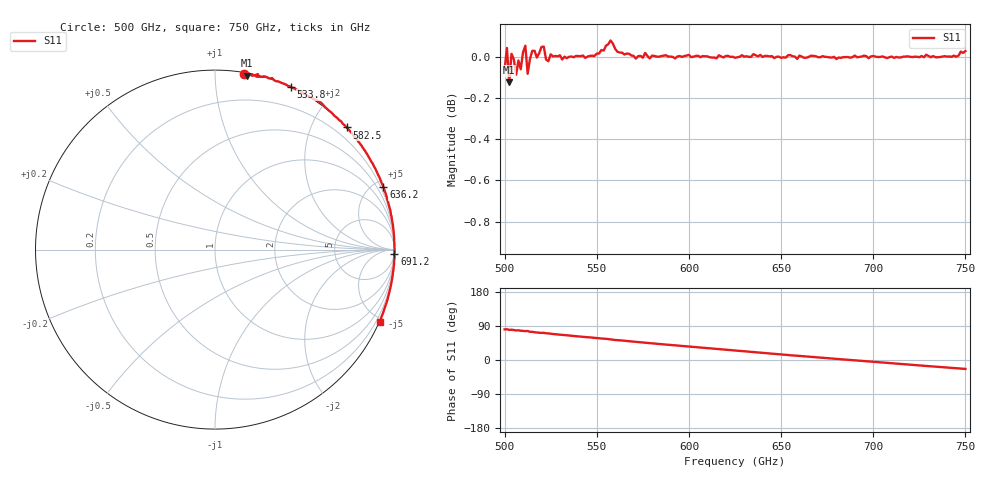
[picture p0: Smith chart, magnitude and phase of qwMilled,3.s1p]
!Created with mwavepy.
# GHz S RI R 50.0
!freq	ReS11	ImS11
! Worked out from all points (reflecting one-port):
!   201 points, 500 GHz to 750 GHz, reference 50 ohm
!   lowest |S11| = -0.1 dB at 502.5 GHz (marker M1), VSWR 142.00, Z = 0.861 + j60.1 ohm
!   phase of S11 starts at 81 deg and turns -104 deg over the sweep
!   S11 on the Smith chart (normalised r, x): 500 GHz: 0.01, +1.18; 533.8 GHz: 0.00, +1.57; 582.5 GHz: -0.00, +2.55; 636.2 GHz: -0.02, +5.57; 691.2 GHz: 0, -83; 750 GHz: -0.04, -4.80
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500  0.1628 0.9797
! Port Impedance 50.00000000000000 0.00000000000000
501.25  0.1538 0.9933
502.5  0.18 0.9694
503.75  0.1762 0.9862
506.25  0.2064 0.9684
507.5  0.2023 0.9774
508.75  0.2182 0.9689
511.25  0.2406 0.9772
512.5  0.2302 0.9635
513.75  0.2681 0.9623
515  0.2714 0.9661
516.25  0.2918 0.9602
520  0.3194 0.9536
521.25  0.3164 0.9549
522.5  0.3334 0.9413
531.25  0.4045 0.913
533.75  0.4221 0.9059
555  0.5637 0.8337
562.5  0.6212 0.7869
582.5  0.7328 0.6808
593.75  0.7875 0.6168
625  0.9061 0.4221
636.25  0.9386 0.3479
656.25  0.9781 0.2102
687.5  0.9996 0.000469
691.25  0.9996 -0.0242
718.75  0.9789 -0.2062
750  0.9198 -0.4008
